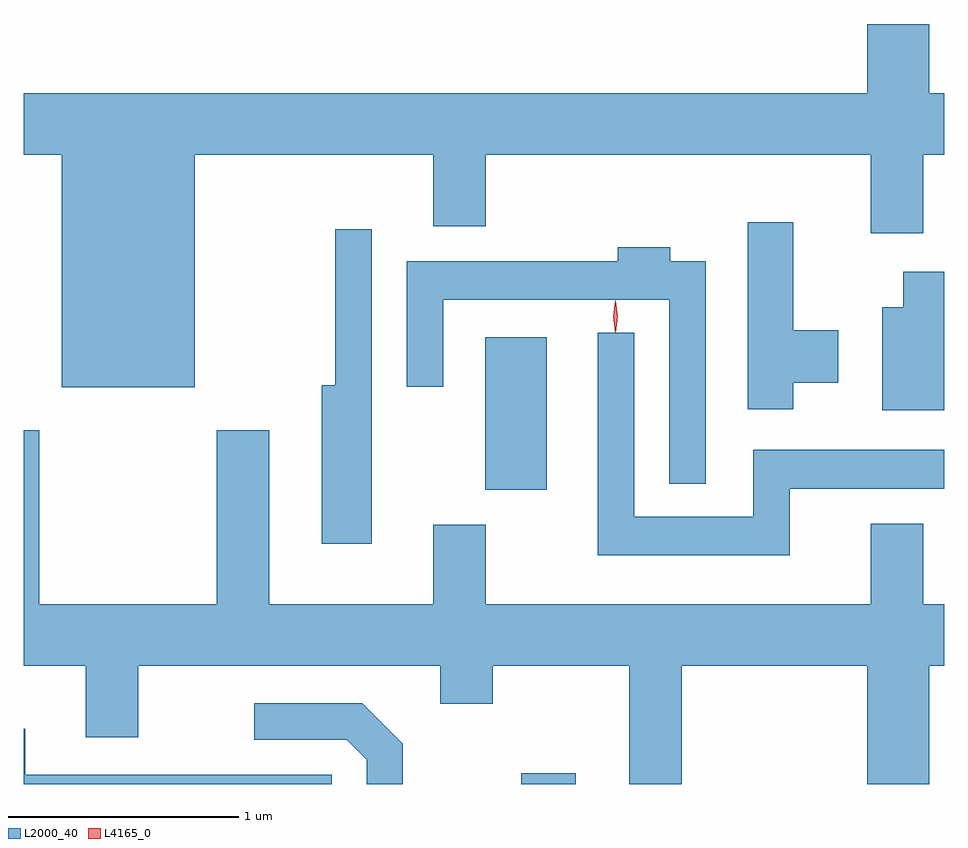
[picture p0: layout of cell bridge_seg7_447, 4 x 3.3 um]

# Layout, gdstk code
import gdstk
lib = gdstk.Library(unit=1e-6, precision=1e-09)
def R(c, l, rs):  # rectangles x0, y0, x1, y1
    for r in rs: c.add(gdstk.rectangle(r[:2], r[2:], *l))
def P(c, l, *ps):  # polygons
    for p in ps: c.add(gdstk.Polygon(p, *l))
L2000_40 = (2000, 40)
L4165_0 = (4165, 0)

bridge_seg7_447 = lib.new_cell('bridge_seg7_447')
R(bridge_seg7_447, L2000_40, [(1132.653,1682.723,1132.889,1682.769), (1132.496,1684.001,1132.764,1684.664)])
P(bridge_seg7_447, L2000_40, [(1131.234,1685.456),(1132.271,1685.456),(1132.271,1685.146),(1132.499,1685.146),(1132.499,1685.456),(1134.171,1685.456),(1134.171,1685.116),(1134.399,1685.116),(1134.399,1685.456),(1134.491,1685.456),(1134.491,1685.724),(1134.424,1685.724),(1134.424,1686.024),(1134.156,1686.024),(1134.156,1685.724),(1130.491,1685.724),(1130.491,1685.456),(1130.656,1685.456),(1130.656,1684.446),(1131.234,1684.446)],
  [(1133.834,1684.466),(1134.029,1684.466),(1134.029,1684.694),(1133.834,1684.694),(1133.834,1685.164),(1133.636,1685.164),(1133.636,1684.351),(1133.834,1684.351)],
  [(1132.004,1685.133),(1131.846,1685.133),(1131.846,1684.454),(1131.786,1684.454),(1131.786,1683.766),(1132.004,1683.766)],
  [(1133.454,1684.994),(1133.299,1684.994),(1133.299,1685.054),(1133.071,1685.054),(1133.071,1684.994),(1132.156,1684.994),(1132.156,1684.448),(1132.314,1684.448),(1132.314,1684.826),(1133.296,1684.826),(1133.296,1684.028),(1133.454,1684.028)],
  [(1134.491,1684.949),(1134.311,1684.949),(1134.311,1684.794),(1134.221,1684.794),(1134.221,1684.346),(1134.491,1684.346)],
  [(1133.819,1684.006),(1134.491,1684.006),(1134.491,1684.174),(1133.661,1684.174),(1133.661,1683.884),(1133.144,1683.884),(1133.144,1684.683),(1132.986,1684.683),(1132.986,1683.716),(1133.819,1683.716)],
  [(1133.349,1683.236),(1134.156,1683.236),(1134.156,1682.723),(1134.424,1682.723),(1134.424,1683.236),(1134.491,1683.236),(1134.491,1683.504),(1134.399,1683.504),(1134.399,1683.854),(1134.171,1683.854),(1134.171,1683.504),(1132.499,1683.504),(1132.499,1683.849),(1132.271,1683.849),(1132.271,1683.504),(1131.559,1683.504),(1131.559,1684.259),(1131.331,1684.259),(1131.331,1683.504),(1130.559,1683.504),(1130.559,1684.259),(1130.491,1684.259),(1130.491,1683.236),(1130.761,1683.236),(1130.761,1682.926),(1130.989,1682.926),(1130.989,1683.236),(1132.301,1683.236),(1132.301,1683.071),(1132.529,1683.071),(1132.529,1683.236),(1133.121,1683.236),(1133.121,1682.723),(1133.349,1682.723)],
  [(1132.139,1682.897),(1131.962,1683.074),(1131.493,1683.074),(1131.493,1682.916),(1131.894,1682.916),(1131.981,1682.829),(1131.981,1682.723),(1132.139,1682.723)],
  [(1131.829,1682.764),(1130.499,1682.764),(1130.499,1682.963),(1130.491,1682.963),(1130.491,1682.723),(1131.829,1682.723)])
P(bridge_seg7_447, L4165_0, [(1133.062,1684.684),(1133.053,1684.753),(1133.062,1684.822),(1133.063,1684.823),(1133.063,1684.822),(1133.073,1684.753),(1133.063,1684.684),(1133.063,1684.684)])

lib.write_gds('bridge_seg7_447.gds')
